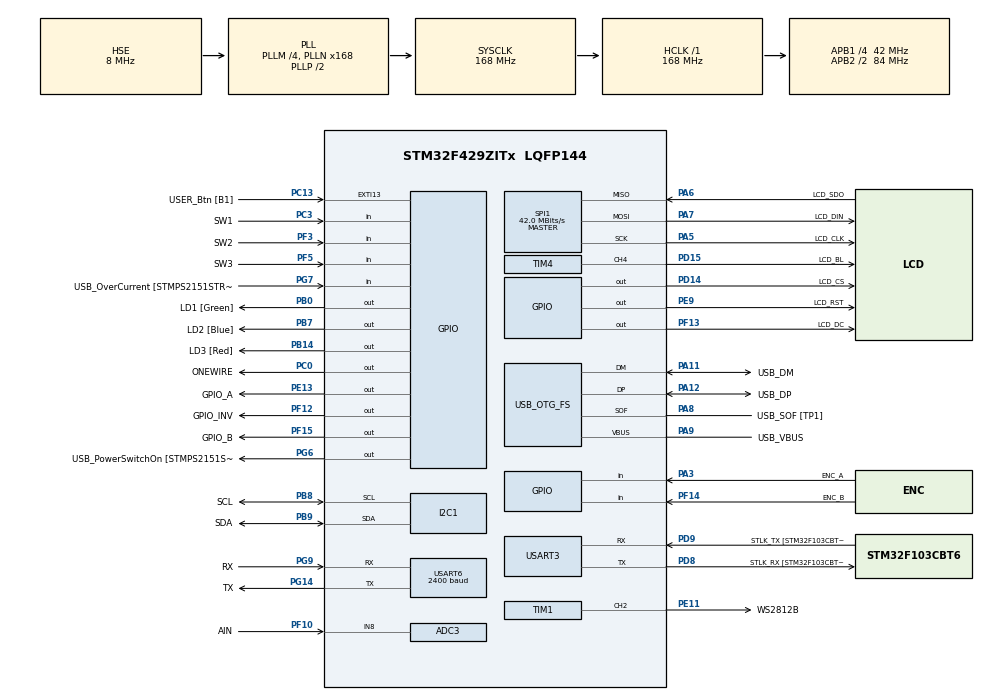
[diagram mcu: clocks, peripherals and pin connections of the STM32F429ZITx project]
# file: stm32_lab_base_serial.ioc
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ADC3.Channel-0\#ChannelRegularConversion=ADC_CHANNEL_8
ADC3.ClockPrescaler=ADC_CLOCK_SYNC_PCLK_DIV8
ADC3.ContinuousConvMode=ENABLE
ADC3.DMAContinuousRequests=ENABLE
ADC3.DiscontinuousConvMode=DISABLE
ADC3.EOCSelection=ADC_EOC_SINGLE_CONV
ADC3.InjNumberOfConversion=0
ADC3.NbrOfConversion=1
ADC3.NbrOfConversionFlag=1
ADC3.Rank-0\#ChannelRegularConversion=1
ADC3.SamplingTime-0\#ChannelRegularConversion=ADC_SAMPLETIME_3CYCLES
ADC3.ScanConvMode=ENABLE
Dma.ADC3.1.Direction=DMA_PERIPH_TO_MEMORY
Dma.ADC3.1.FIFOMode=DMA_FIFOMODE_DISABLE
Dma.ADC3.1.Instance=DMA2_Stream0
Dma.ADC3.1.MemDataAlignment=DMA_MDATAALIGN_HALFWORD
Dma.ADC3.1.MemInc=DMA_MINC_ENABLE
Dma.ADC3.1.Mode=DMA_NORMAL
Dma.ADC3.1.PeriphDataAlignment=DMA_PDATAALIGN_HALFWORD
Dma.ADC3.1.PeriphInc=DMA_PINC_DISABLE
Dma.ADC3.1.Priority=DMA_PRIORITY_LOW
Dma.Request0=SPI1_TX
Dma.Request1=ADC3
Dma.Request2=TIM1_CH2
Dma.SPI1_TX.0.Direction=DMA_MEMORY_TO_PERIPH
Dma.SPI1_TX.0.FIFOMode=DMA_FIFOMODE_DISABLE
Dma.SPI1_TX.0.Instance=DMA2_Stream3
Dma.SPI1_TX.0.MemDataAlignment=DMA_MDATAALIGN_BYTE
Dma.SPI1_TX.0.MemInc=DMA_MINC_ENABLE
Dma.SPI1_TX.0.Mode=DMA_NORMAL
Dma.SPI1_TX.0.PeriphDataAlignment=DMA_PDATAALIGN_BYTE
Dma.SPI1_TX.0.PeriphInc=DMA_PINC_DISABLE
Dma.SPI1_TX.0.Priority=DMA_PRIORITY_LOW
Dma.TIM1_CH2.2.Direction=DMA_MEMORY_TO_PERIPH
Dma.TIM1_CH2.2.FIFOMode=DMA_FIFOMODE_DISABLE
Dma.TIM1_CH2.2.Instance=DMA2_Stream2
Dma.TIM1_CH2.2.MemDataAlignment=DMA_MDATAALIGN_HALFWORD
Dma.TIM1_CH2.2.MemInc=DMA_MINC_ENABLE
Dma.TIM1_CH2.2.Mode=DMA_NORMAL
Dma.TIM1_CH2.2.PeriphDataAlignment=DMA_PDATAALIGN_HALFWORD
Dma.TIM1_CH2.2.PeriphInc=DMA_PINC_DISABLE
Dma.TIM1_CH2.2.Priority=DMA_PRIORITY_LOW
FREERTOS.INCLUDE_pcTaskGetTaskName=1
FREERTOS.INCLUDE_uxTaskGetStackHighWaterMark2=1
FREERTOS.INCLUDE_xTaskGetHandle=1
FREERTOS.Tasks01=defaultTask,24,1024,StartDefaultTask,Default,NULL,Dynamic,NULL,NULL
FREERTOS.configENABLE_FPU=1
FREERTOS.configTOTAL_HEAP_SIZE=32768
FREERTOS.configUSE_IDLE_HOOK=1
FREERTOS.configUSE_NEWLIB_REENTRANT=1
FREERTOS.configUSE_TICK_HOOK=1
Mcu.Family=STM32F4
Mcu.Name=STM32F429ZITx
Mcu.Package=LQFP144
NVIC.ADC_IRQn=true\:5\:0\:false\:false\:true\:true\:true\:true\:true
NVIC.DMA2_Stream0_IRQn=true\:5\:0\:false\:false\:true\:true\:false\:true\:true
NVIC.DMA2_Stream2_IRQn=true\:5\:0\:false\:false\:true\:true\:false\:true\:true
NVIC.DMA2_Stream3_IRQn=true\:5\:0\:false\:false\:true\:true\:false\:true\:true
NVIC.OTG_FS_IRQn=true\:5\:0\:false\:false\:true\:true\:false\:true\:true
NVIC.PriorityGroup=NVIC_PRIORITYGROUP_4
NVIC.TIM6_DAC_IRQn=true\:15\:0\:false\:false\:true\:false\:false\:true\:true
NVIC.TimeBase=TIM6_DAC_IRQn
NVIC.TimeBaseIP=TIM6
NVIC.USART6_IRQn=true\:5\:0\:false\:false\:true\:true\:true\:true\:true
PA1.GPIO_Label=RMII_REF_CLK [LAN8742A-CZ-TR_REFCLK0]
PA1.Signal=ETH_REF_CLK
PA10.GPIO_Label=USB_ID
PA10.Signal=USB_OTG_FS_ID
PA11.GPIO_Label=USB_DM
PA11.Mode=Device_Only
PA11.Signal=USB_OTG_FS_DM
PA12.GPIO_Label=USB_DP
PA12.Mode=Device_Only
PA12.Signal=USB_OTG_FS_DP
PA13.GPIO_Label=TMS
PA13.Mode=Serial_Wire
PA13.Signal=SYS_JTMS-SWDIO
PA14.GPIO_Label=TCK
PA14.Mode=Serial_Wire
PA14.Signal=SYS_JTCK-SWCLK
PA2.GPIO_Label=RMII_MDIO [LAN8742A-CZ-TR_MDIO]
PA2.Signal=ETH_MDIO
PA3.GPIO_Label=ENC_A
PA3.Signal=GPIO_Input
PA5.GPIO_Label=LCD_CLK
PA5.Mode=Full_Duplex_Master
PA5.Signal=SPI1_SCK
PA6.GPIO_Label=LCD_SDO
PA6.Mode=Full_Duplex_Master
PA6.Signal=SPI1_MISO
PA7.GPIO_Label=LCD_DIN
PA7.Mode=Full_Duplex_Master
PA7.Signal=SPI1_MOSI
PA8.GPIO_Label=USB_SOF [TP1]
PA8.Mode=Activate_SOF_FS
PA8.Signal=USB_OTG_FS_SOF
PA9.GPIO_Label=USB_VBUS
PA9.Mode=Activate_VBUS
PA9.Signal=USB_OTG_FS_VBUS
PB0.GPIO_Label=LD1 [Green]
PB0.Signal=GPIO_Output
PB13.GPIO_Label=RMII_TXD1 [LAN8742A-CZ-TR_TXD1]
PB13.Signal=ETH_TXD1
PB14.GPIO_Label=LD3 [Red]
PB14.Signal=GPIO_Output
PB7.GPIO_Label=LD2 [Blue]
PB7.Signal=GPIO_Output
PB8.GPIO_Label=SCL
PB8.Mode=I2C
PB8.Signal=I2C1_SCL
PB9.GPIO_Label=SDA
PB9.Mode=I2C
PB9.Signal=I2C1_SDA
PC0.GPIO_Label=ONEWIRE
PC0.Signal=GPIO_Output
PC1.GPIO_Label=RMII_MDC [LAN8742A-CZ-TR_MDC]
PC1.Signal=ETH_MDC
PC13.GPIO_Label=USER_Btn [B1]
PC13.Signal=GPXTI13
PC14/OSC32_IN.Mode=LSE-External-Oscillator
PC14/OSC32_IN.Signal=RCC_OSC32_IN
PC15/OSC32_OUT.Mode=LSE-External-Oscillator
PC15/OSC32_OUT.Signal=RCC_OSC32_OUT
PC3.GPIO_Label=SW1
PC3.Signal=GPIO_Input
PC4.GPIO_Label=RMII_RXD0 [LAN8742A-CZ-TR_RXD0]
PC4.Signal=ETH_RXD0
PC5.GPIO_Label=RMII_RXD1 [LAN8742A-CZ-TR_RXD1]
PC5.Signal=ETH_RXD1
PD14.GPIO_Label=LCD_CS
PD14.Signal=GPIO_Output
PD15.GPIO_Label=LCD_BL
PD15.Signal=S_TIM4_CH4
PD8.GPIO_Label=STLK_RX [STM32F103CBT6_PA3]
PD8.Mode=Asynchronous
PD8.Signal=USART3_TX
PD9.GPIO_Label=STLK_TX [STM32F103CBT6_PA2]
PD9.Mode=Asynchronous
PD9.Signal=USART3_RX
PE11.GPIO_Label=WS2812B
PE11.Signal=S_TIM1_CH2
PE13.GPIO_Label=GPIO_A
PE13.Signal=GPIO_Output
PE9.GPIO_Label=LCD_RST
PE9.Signal=GPIO_Output
PF10.GPIO_Label=AIN
PF10.Mode=IN8
PF10.Signal=ADC3_IN8
PF12.GPIO_Label=GPIO_INV
PF12.Signal=GPIO_Output
PF13.GPIO_Label=LCD_DC
PF13.Signal=GPIO_Output
PF14.GPIO_Label=ENC_B
PF14.Signal=GPIO_Input
PF15.GPIO_Label=GPIO_B
PF15.Signal=GPIO_Output
PF3.GPIO_Label=SW2
PF3.Signal=GPIO_Input
PF5.GPIO_Label=SW3
PF5.Signal=GPIO_Input
PG11.GPIO_Label=RMII_TX_EN [LAN8742A-CZ-TR_TXEN]
PG11.Signal=ETH_TX_EN
PG13.GPIO_Label=RMII_TXD0 [LAN8742A-CZ-TR_TXD0]
PG13.Signal=ETH_TXD0
PG14.GPIO_Label=TX
PG14.Mode=Asynchronous
PG14.Signal=USART6_TX
PG6.GPIO_Label=USB_PowerSwitchOn [STMPS2151STR_EN]
PG6.Signal=GPIO_Output
PG7.GPIO_Label=USB_OverCurrent [STMPS2151STR_FAULT]
PG7.Signal=GPIO_Input
PG9.GPIO_Label=RX
PG9.Mode=Asynchronous
PG9.Signal=USART6_RX
PH0/OSC_IN.GPIO_Label=MCO [STM32F103CBT6_PA8]
PH0/OSC_IN.Mode=HSE-External-Clock-Source
PH0/OSC_IN.Signal=RCC_OSC_IN
PH1/OSC_OUT.Mode=HSE-External-Clock-Source
PH1/OSC_OUT.Signal=RCC_OSC_OUT
ProjectManager.HeapSize=0x200
ProjectManager.StackSize=0x400
ProjectManager.TargetToolchain=STM32CubeIDE
RCC.48MHZClocksFreq_Value=48000000
RCC.AHBFreq_Value=168000000
RCC.APB1CLKDivider=RCC_HCLK_DIV4
RCC.APB1Freq_Value=42000000
RCC.APB1TimFreq_Value=84000000
RCC.APB2CLKDivider=RCC_HCLK_DIV2
RCC.APB2Freq_Value=84000000
RCC.APB2TimCLKDivider=2
RCC.APB2TimFreq_Value=168000000
RCC.CortexFreq_Value=168000000
RCC.HCLKFreq_Value=168000000
RCC.HSE_VALUE=8000000
RCC.HSI_VALUE=16000000
RCC.PLLM=4
RCC.PLLMUL=RCC_PLL_MUL9
RCC.PLLN=168
RCC.PLLQ=7
RCC.PRESCALERUSB=RCC_USBCLKSOURCE_PLL_DIV1_5
RCC.SYSCLKFreq_VALUE=168000000
RCC.SYSCLKSource=RCC_SYSCLKSOURCE_PLLCLK
RCC.SYSCLKSourceVirtual=RCC_SYSCLKSOURCE_PLLCLK
RCC.USBFreq_Value=48000000
RCC.VCOOutputFreq_Value=336000000
SH.S_TIM1_CH2.0=TIM1_CH2,PWM Generation2 CH2
SH.S_TIM4_CH4.0=TIM4_CH4,PWM Generation4 CH4
SPI1.CalculateBaudRate=42.0 MBits/s
SPI1.Direction=SPI_DIRECTION_2LINES
SPI1.Mode=SPI_MODE_MASTER
SPI1.VirtualType=VM_MASTER
TIM1.Channel-PWM\ Generation2\ CH2=TIM_CHANNEL_2
TIM1.ClockDivision=TIM_CLOCKDIVISION_DIV2
TIM1.Period=209
TIM1.Pulse-PWM\ Generation2\ CH2=50
TIM14.Period=42
TIM4.Channel-PWM\ Generation4\ CH4=TIM_CHANNEL_4
TIM4.Period=0xFF
TIM4.Prescaler=10
TIM4.Pulse-PWM\ Generation4\ CH4=0xF0
USART3.VirtualMode=VM_ASYNC
USART6.BaudRate=2400
USART6.VirtualMode=VM_ASYNC
USB_DEVICE.CLASS_NAME_FS=CDC
USB_DEVICE.MANUFACTURER_STRING-CDC_FS=Wydzial Informatyki AGH
USB_DEVICE.PRODUCT_STRING_CDC_FS=Mikroprocki Virtual ComPort
USB_DEVICE.USBD_DEBUG_LEVEL-CDC_FS=3
USB_DEVICE.VirtualMode-CDC_FS=Cdc
USB_DEVICE.VirtualModeFS=Cdc_FS
USB_OTG_FS.VirtualMode=Device_Only
VP_FREERTOS_VS_CMSIS_V2.Mode=CMSIS_V2
VP_SYS_VS_tim6.Mode=TIM6
VP_TIM14_VS_ClockSourceINT.Mode=Enable_Timer
VP_TIM1_VS_ClockSourceINT.Mode=Internal
VP_USB_DEVICE_VS_USB_DEVICE_CDC_FS.Mode=CDC_FS
board=NUCLEO-F429ZI

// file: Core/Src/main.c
/* USER CODE BEGIN Header */
/**
  ******************************************************************************
  * @file           : main.c
  * @brief          : Main program body
  ******************************************************************************
  * @attention
  *
  * Copyright (c) 2025 STMicroelectronics.
  * All rights reserved.
  *
  * This software is licensed under terms that can be found in the LICENSE file
  * in the root directory of this software component.
  * If no LICENSE file comes with this software, it is provided AS-IS.
  *
  ******************************************************************************
  */
/* USER CODE END Header */
#include "main.h"
#include "cmsis_os.h"
#include "usb_device.h"

/* USER CODE BEGIN Includes */
#include "dbgu.h"
#include "usbd_cdc_if.h"
#include "ws2812b.h"
#include "lcd/ili9341.h"
#include "lcd/lcd.h"
#include "us_delay.h"
/* USER CODE END Includes */

ADC_HandleTypeDef hadc3;
DMA_HandleTypeDef hdma_adc3;

I2C_HandleTypeDef hi2c1;

SPI_HandleTypeDef hspi1;
DMA_HandleTypeDef hdma_spi1_tx;

TIM_HandleTypeDef htim1;
TIM_HandleTypeDef htim4;
TIM_HandleTypeDef htim14;
DMA_HandleTypeDef hdma_tim1_ch2;

UART_HandleTypeDef huart3;
UART_HandleTypeDef huart6;

/* Definitions for defaultTask */
osThreadId_t defaultTaskHandle;
const osThreadAttr_t defaultTask_attributes = {
  .name = "defaultTask",
  .stack_size = 1024 * 4,
  .priority = (osPriority_t) osPriorityNormal,
};

void SystemClock_Config(void);
static void MX_GPIO_Init(void);
static void MX_DMA_Init(void);
static void MX_TIM1_Init(void);
static void MX_USART3_UART_Init(void);
static void MX_SPI1_Init(void);
static void MX_ADC3_Init(void);
static void MX_USART6_UART_Init(void);
static void MX_I2C1_Init(void);
static void MX_TIM4_Init(void);
static void MX_TIM14_Init(void);
void StartDefaultTask(void *argument);

/* USER CODE BEGIN PFP */
static void uart_tx_polling(char chr);
static char uart_rx_polling(void);
/* USER CODE END PFP */

/* USER CODE BEGIN 0 */
extern USBD_HandleTypeDef hUsbDeviceFS;
/* USER CODE END 0 */

int main(void)
{

  /* MCU Configuration--------------------------------------------------------*/

  /* Reset of all peripherals, Initializes the Flash interface and the Systick. */
  HAL_Init();

  /* Configure the system clock */
  SystemClock_Config();

  /* Initialize all configured peripherals */
  MX_GPIO_Init();
  MX_DMA_Init();
  MX_TIM1_Init();
  MX_USART3_UART_Init();
  MX_SPI1_Init();
  MX_ADC3_Init();
  MX_USART6_UART_Init();
  MX_I2C1_Init();
  MX_TIM4_Init();
  MX_TIM14_Init();
  /* USER CODE BEGIN 2 */
  debug_init(&huart3);
  printf("It works!\n");
  xprintf("xprintf works too!\n");
  //xprintf("initializing ws leds...\n");
  //ws2812b_init(&htim1,&hdma_tim1_ch2,TIM_CHANNEL_2,8);
  //ws2812b_init(&htim1,&hdma_tim1_ch2,TIM_CHANNEL_2,8);
  usdelay_Init(&htim14);
  /* USER CODE END 2 */

  /* Init scheduler */
  osKernelInitialize();

  /* Create the thread(s) */
  /* creation of defaultTask */
  defaultTaskHandle = osThreadNew(StartDefaultTask, NULL, &defaultTask_attributes);

  /* Start scheduler */
  osKernelStart();

  /* We should never get here as control is now taken by the scheduler */

  /* Infinite loop */
  while (1)
  {

  }
}

void SystemClock_Config(void)
{
  RCC_OscInitTypeDef RCC_OscInitStruct = {0};
  RCC_ClkInitTypeDef RCC_ClkInitStruct = {0};

  /** Configure the main internal regulator output voltage
  */
  __HAL_RCC_PWR_CLK_ENABLE();
  __HAL_PWR_VOLTAGESCALING_CONFIG(PWR_REGULATOR_VOLTAGE_SCALE1);

  /** Initializes the RCC Oscillators according to the specified parameters
  * in the RCC_OscInitTypeDef structure.
  */
  RCC_OscInitStruct.OscillatorType = RCC_OSCILLATORTYPE_HSE;
  RCC_OscInitStruct.HSEState = RCC_HSE_BYPASS;
  RCC_OscInitStruct.PLL.PLLState = RCC_PLL_ON;
  RCC_OscInitStruct.PLL.PLLSource = RCC_PLLSOURCE_HSE;
  RCC_OscInitStruct.PLL.PLLM = 4;
  RCC_OscInitStruct.PLL.PLLN = 168;
  RCC_OscInitStruct.PLL.PLLP = RCC_PLLP_DIV2;
  RCC_OscInitStruct.PLL.PLLQ = 7;
  if (HAL_RCC_OscConfig(&RCC_OscInitStruct) != HAL_OK)
  {
    Error_Handler();
  }

  /** Initializes the CPU, AHB and APB buses clocks
  */
  RCC_ClkInitStruct.ClockType = RCC_CLOCKTYPE_HCLK|RCC_CLOCKTYPE_SYSCLK
                              |RCC_CLOCKTYPE_PCLK1|RCC_CLOCKTYPE_PCLK2;
  RCC_ClkInitStruct.SYSCLKSource = RCC_SYSCLKSOURCE_PLLCLK;
  RCC_ClkInitStruct.AHBCLKDivider = RCC_SYSCLK_DIV1;
  RCC_ClkInitStruct.APB1CLKDivider = RCC_HCLK_DIV4;
  RCC_ClkInitStruct.APB2CLKDivider = RCC_HCLK_DIV2;

  if (HAL_RCC_ClockConfig(&RCC_ClkInitStruct, FLASH_LATENCY_5) != HAL_OK)
  {
    Error_Handler();
  }
}

static void MX_ADC3_Init(void)
{

  ADC_ChannelConfTypeDef sConfig = {0};

  /** Configure the global features of the ADC (Clock, Resolution, Data Alignment and number of conversion)
  */
  hadc3.Instance = ADC3;
  hadc3.Init.ClockPrescaler = ADC_CLOCK_SYNC_PCLK_DIV8;
  hadc3.Init.Resolution = ADC_RESOLUTION_12B;
  hadc3.Init.ScanConvMode = ENABLE;
  hadc3.Init.ContinuousConvMode = ENABLE;
  hadc3.Init.DiscontinuousConvMode = DISABLE;
  hadc3.Init.ExternalTrigConvEdge = ADC_EXTERNALTRIGCONVEDGE_NONE;
  hadc3.Init.ExternalTrigConv = ADC_SOFTWARE_START;
  hadc3.Init.DataAlign = ADC_DATAALIGN_RIGHT;
  hadc3.Init.NbrOfConversion = 1;
  hadc3.Init.DMAContinuousRequests = ENABLE;
  hadc3.Init.EOCSelection = ADC_EOC_SINGLE_CONV;
  if (HAL_ADC_Init(&hadc3) != HAL_OK)
  {
    Error_Handler();
  }

  /** Configure for the selected ADC regular channel its corresponding rank in the sequencer and its sample time.
  */
  sConfig.Channel = ADC_CHANNEL_8;
  sConfig.Rank = 1;
  sConfig.SamplingTime = ADC_SAMPLETIME_3CYCLES;
  if (HAL_ADC_ConfigChannel(&hadc3, &sConfig) != HAL_OK)
  {
    Error_Handler();
  }

}

static void MX_I2C1_Init(void)
{

  hi2c1.Instance = I2C1;
  hi2c1.Init.ClockSpeed = 100000;
  hi2c1.Init.DutyCycle = I2C_DUTYCYCLE_2;
  hi2c1.Init.OwnAddress1 = 0;
  hi2c1.Init.AddressingMode = I2C_ADDRESSINGMODE_7BIT;
  hi2c1.Init.DualAddressMode = I2C_DUALADDRESS_DISABLE;
  hi2c1.Init.OwnAddress2 = 0;
  hi2c1.Init.GeneralCallMode = I2C_GENERALCALL_DISABLE;
  hi2c1.Init.NoStretchMode = I2C_NOSTRETCH_DISABLE;
  if (HAL_I2C_Init(&hi2c1) != HAL_OK)
  {
    Error_Handler();
  }

  /** Configure Analogue filter
  */
  if (HAL_I2CEx_ConfigAnalogFilter(&hi2c1, I2C_ANALOGFILTER_ENABLE) != HAL_OK)
  {
    Error_Handler();
  }

  /** Configure Digital filter
  */
  if (HAL_I2CEx_ConfigDigitalFilter(&hi2c1, 0) != HAL_OK)
  {
    Error_Handler();
  }

}

static void MX_SPI1_Init(void)
{

  /* SPI1 parameter configuration*/
  hspi1.Instance = SPI1;
  hspi1.Init.Mode = SPI_MODE_MASTER;
  hspi1.Init.Direction = SPI_DIRECTION_2LINES;
  hspi1.Init.DataSize = SPI_DATASIZE_8BIT;
  hspi1.Init.CLKPolarity = SPI_POLARITY_LOW;
  hspi1.Init.CLKPhase = SPI_PHASE_1EDGE;
  hspi1.Init.NSS = SPI_NSS_SOFT;
  hspi1.Init.BaudRatePrescaler = SPI_BAUDRATEPRESCALER_2;
  hspi1.Init.FirstBit = SPI_FIRSTBIT_MSB;
  hspi1.Init.TIMode = SPI_TIMODE_DISABLE;
  hspi1.Init.CRCCalculation = SPI_CRCCALCULATION_DISABLE;
  hspi1.Init.CRCPolynomial = 10;
  if (HAL_SPI_Init(&hspi1) != HAL_OK)
  {
    Error_Handler();
  }

}

static void MX_TIM1_Init(void)
{

  TIM_ClockConfigTypeDef sClockSourceConfig = {0};
  TIM_MasterConfigTypeDef sMasterConfig = {0};
  TIM_OC_InitTypeDef sConfigOC = {0};
  TIM_BreakDeadTimeConfigTypeDef sBreakDeadTimeConfig = {0};

  htim1.Instance = TIM1;
  htim1.Init.Prescaler = 0;
  htim1.Init.CounterMode = TIM_COUNTERMODE_UP;
  htim1.Init.Period = 209;
  htim1.Init.ClockDivision = TIM_CLOCKDIVISION_DIV2;
  htim1.Init.RepetitionCounter = 0;
  htim1.Init.AutoReloadPreload = TIM_AUTORELOAD_PRELOAD_DISABLE;
  if (HAL_TIM_Base_Init(&htim1) != HAL_OK)
  {
    Error_Handler();
  }
  sClockSourceConfig.ClockSource = TIM_CLOCKSOURCE_INTERNAL;
  if (HAL_TIM_ConfigClockSource(&htim1, &sClockSourceConfig) != HAL_OK)
  {
    Error_Handler();
  }
  if (HAL_TIM_PWM_Init(&htim1) != HAL_OK)
  {
    Error_Handler();
  }
  sMasterConfig.MasterOutputTrigger = TIM_TRGO_RESET;
  sMasterConfig.MasterSlaveMode = TIM_MASTERSLAVEMODE_DISABLE;
  if (HAL_TIMEx_MasterConfigSynchronization(&htim1, &sMasterConfig) != HAL_OK)
  {
    Error_Handler();
  }
  sConfigOC.OCMode = TIM_OCMODE_PWM1;
  sConfigOC.Pulse = 50;
  sConfigOC.OCPolarity = TIM_OCPOLARITY_HIGH;
  sConfigOC.OCNPolarity = TIM_OCNPOLARITY_HIGH;
  sConfigOC.OCFastMode = TIM_OCFAST_DISABLE;
  sConfigOC.OCIdleState = TIM_OCIDLESTATE_RESET;
  sConfigOC.OCNIdleState = TIM_OCNIDLESTATE_RESET;
  if (HAL_TIM_PWM_ConfigChannel(&htim1, &sConfigOC, TIM_CHANNEL_2) != HAL_OK)
  {
    Error_Handler();
  }
  sBreakDeadTimeConfig.OffStateRunMode = TIM_OSSR_DISABLE;
  sBreakDeadTimeConfig.OffStateIDLEMode = TIM_OSSI_DISABLE;
  sBreakDeadTimeConfig.LockLevel = TIM_LOCKLEVEL_OFF;
  sBreakDeadTimeConfig.DeadTime = 0;
  sBreakDeadTimeConfig.BreakState = TIM_BREAK_DISABLE;
  sBreakDeadTimeConfig.BreakPolarity = TIM_BREAKPOLARITY_HIGH;
  sBreakDeadTimeConfig.AutomaticOutput = TIM_AUTOMATICOUTPUT_DISABLE;
  if (HAL_TIMEx_ConfigBreakDeadTime(&htim1, &sBreakDeadTimeConfig) != HAL_OK)
  {
    Error_Handler();
  }
  HAL_TIM_MspPostInit(&htim1);

}

static void MX_TIM4_Init(void)
{

  TIM_MasterConfigTypeDef sMasterConfig = {0};
  TIM_OC_InitTypeDef sConfigOC = {0};

  htim4.Instance = TIM4;
  htim4.Init.Prescaler = 10;
  htim4.Init.CounterMode = TIM_COUNTERMODE_UP;
  htim4.Init.Period = 0xFF;
  htim4.Init.ClockDivision = TIM_CLOCKDIVISION_DIV1;
  htim4.Init.AutoReloadPreload = TIM_AUTORELOAD_PRELOAD_DISABLE;
  if (HAL_TIM_PWM_Init(&htim4) != HAL_OK)
  {
    Error_Handler();
  }
  sMasterConfig.MasterOutputTrigger = TIM_TRGO_RESET;
  sMasterConfig.MasterSlaveMode = TIM_MASTERSLAVEMODE_DISABLE;
  if (HAL_TIMEx_MasterConfigSynchronization(&htim4, &sMasterConfig) != HAL_OK)
  {
    Error_Handler();
  }
  sConfigOC.OCMode = TIM_OCMODE_PWM1;
  sConfigOC.Pulse = 0xF0;
  sConfigOC.OCPolarity = TIM_OCPOLARITY_HIGH;
  sConfigOC.OCFastMode = TIM_OCFAST_DISABLE;
  if (HAL_TIM_PWM_ConfigChannel(&htim4, &sConfigOC, TIM_CHANNEL_4) != HAL_OK)
  {
    Error_Handler();
  }
  HAL_TIM_MspPostInit(&htim4);

}

static void MX_TIM14_Init(void)
{

  htim14.Instance = TIM14;
  htim14.Init.Prescaler = 0;
  htim14.Init.CounterMode = TIM_COUNTERMODE_UP;
  htim14.Init.Period = 42;
  htim14.Init.ClockDivision = TIM_CLOCKDIVISION_DIV1;
  htim14.Init.AutoReloadPreload = TIM_AUTORELOAD_PRELOAD_DISABLE;
  if (HAL_TIM_Base_Init(&htim14) != HAL_OK)
  {
    Error_Handler();
  }

}

static void MX_USART3_UART_Init(void)
{

  huart3.Instance = USART3;
  huart3.Init.BaudRate = 115200;
  huart3.Init.WordLength = UART_WORDLENGTH_8B;
  huart3.Init.StopBits = UART_STOPBITS_1;
  huart3.Init.Parity = UART_PARITY_NONE;
  huart3.Init.Mode = UART_MODE_TX_RX;
  huart3.Init.HwFlowCtl = UART_HWCONTROL_NONE;
  huart3.Init.OverSampling = UART_OVERSAMPLING_16;
  if (HAL_UART_Init(&huart3) != HAL_OK)
  {
    Error_Handler();
  }

}

static void MX_USART6_UART_Init(void)
{

  huart6.Instance = USART6;
  huart6.Init.BaudRate = 2400;
  huart6.Init.WordLength = UART_WORDLENGTH_8B;
  huart6.Init.StopBits = UART_STOPBITS_1;
  huart6.Init.Parity = UART_PARITY_NONE;
  huart6.Init.Mode = UART_MODE_TX_RX;
  huart6.Init.HwFlowCtl = UART_HWCONTROL_NONE;
  huart6.Init.OverSampling = UART_OVERSAMPLING_16;
  if (HAL_UART_Init(&huart6) != HAL_OK)
  {
    Error_Handler();
  }

}

static void MX_DMA_Init(void)
{

  /* DMA controller clock enable */
  __HAL_RCC_DMA2_CLK_ENABLE();

  /* DMA interrupt init */
  /* DMA2_Stream0_IRQn interrupt configuration */
  HAL_NVIC_SetPriority(DMA2_Stream0_IRQn, 5, 0);
  HAL_NVIC_EnableIRQ(DMA2_Stream0_IRQn);
  /* DMA2_Stream2_IRQn interrupt configuration */
  HAL_NVIC_SetPriority(DMA2_Stream2_IRQn, 5, 0);
  HAL_NVIC_EnableIRQ(DMA2_Stream2_IRQn);
  /* DMA2_Stream3_IRQn interrupt configuration */
  HAL_NVIC_SetPriority(DMA2_Stream3_IRQn, 5, 0);
  HAL_NVIC_EnableIRQ(DMA2_Stream3_IRQn);

}

static void MX_GPIO_Init(void)
{
  GPIO_InitTypeDef GPIO_InitStruct = {0};

  /* GPIO Ports Clock Enable */
  __HAL_RCC_GPIOC_CLK_ENABLE();
  __HAL_RCC_GPIOF_CLK_ENABLE();
  __HAL_RCC_GPIOH_CLK_ENABLE();
  __HAL_RCC_GPIOA_CLK_ENABLE();
  __HAL_RCC_GPIOB_CLK_ENABLE();
  __HAL_RCC_GPIOE_CLK_ENABLE();
  __HAL_RCC_GPIOD_CLK_ENABLE();
  __HAL_RCC_GPIOG_CLK_ENABLE();

  /*Configure GPIO pin Output Level */
  HAL_GPIO_WritePin(ONEWIRE_GPIO_Port, ONEWIRE_Pin, GPIO_PIN_RESET);

  /*Configure GPIO pin Output Level */
  HAL_GPIO_WritePin(GPIOB, LD1_Pin|LD3_Pin|LD2_Pin, GPIO_PIN_RESET);

  /*Configure GPIO pin Output Level */
  HAL_GPIO_WritePin(GPIOF, GPIO_INV_Pin|LCD_DC_Pin|GPIO_B_Pin, GPIO_PIN_RESET);

  /*Configure GPIO pin Output Level */
  HAL_GPIO_WritePin(GPIOE, LCD_RST_Pin|GPIO_A_Pin, GPIO_PIN_RESET);

  /*Configure GPIO pin Output Level */
  HAL_GPIO_WritePin(LCD_CS_GPIO_Port, LCD_CS_Pin, GPIO_PIN_RESET);

  /*Configure GPIO pin Output Level */
  HAL_GPIO_WritePin(USB_PowerSwitchOn_GPIO_Port, USB_PowerSwitchOn_Pin, GPIO_PIN_RESET);

  /*Configure GPIO pin : USER_Btn_Pin */
  GPIO_InitStruct.Pin = USER_Btn_Pin;
  GPIO_InitStruct.Mode = GPIO_MODE_IT_RISING;
  GPIO_InitStruct.Pull = GPIO_NOPULL;
  HAL_GPIO_Init(USER_Btn_GPIO_Port, &GPIO_InitStruct);

  /*Configure GPIO pins : SW2_Pin SW3_Pin ENC_B_Pin */
  GPIO_InitStruct.Pin = SW2_Pin|SW3_Pin|ENC_B_Pin;
  GPIO_InitStruct.Mode = GPIO_MODE_INPUT;
  GPIO_InitStruct.Pull = GPIO_NOPULL;
  HAL_GPIO_Init(GPIOF, &GPIO_InitStruct);

  /*Configure GPIO pin : ONEWIRE_Pin */
  GPIO_InitStruct.Pin = ONEWIRE_Pin;
  GPIO_InitStruct.Mode = GPIO_MODE_OUTPUT_PP;
  GPIO_InitStruct.Pull = GPIO_NOPULL;
  GPIO_InitStruct.Speed = GPIO_SPEED_FREQ_LOW;
  HAL_GPIO_Init(ONEWIRE_GPIO_Port, &GPIO_InitStruct);

  /*Configure GPIO pins : RMII_MDC_Pin RMII_RXD0_Pin RMII_RXD1_Pin */
  GPIO_InitStruct.Pin = RMII_MDC_Pin|RMII_RXD0_Pin|RMII_RXD1_Pin;
  GPIO_InitStruct.Mode = GPIO_MODE_AF_PP;
  GPIO_InitStruct.Pull = GPIO_NOPULL;
  GPIO_InitStruct.Speed = GPIO_SPEED_FREQ_VERY_HIGH;
  GPIO_InitStruct.Alternate = GPIO_AF11_ETH;
  HAL_GPIO_Init(GPIOC, &GPIO_InitStruct);

  /*Configure GPIO pin : SW1_Pin */
  GPIO_InitStruct.Pin = SW1_Pin;
  GPIO_InitStruct.Mode = GPIO_MODE_INPUT;
  GPIO_InitStruct.Pull = GPIO_NOPULL;
  HAL_GPIO_Init(SW1_GPIO_Port, &GPIO_InitStruct);

  /*Configure GPIO pins : RMII_REF_CLK_Pin RMII_MDIO_Pin */
  GPIO_InitStruct.Pin = RMII_REF_CLK_Pin|RMII_MDIO_Pin;
  GPIO_InitStruct.Mode = GPIO_MODE_AF_PP;
  GPIO_InitStruct.Pull = GPIO_NOPULL;
  GPIO_InitStruct.Speed = GPIO_SPEED_FREQ_VERY_HIGH;
  GPIO_InitStruct.Alternate = GPIO_AF11_ETH;
  HAL_GPIO_Init(GPIOA, &GPIO_InitStruct);

  /*Configure GPIO pin : ENC_A_Pin */
  GPIO_InitStruct.Pin = ENC_A_Pin;
  GPIO_InitStruct.Mode = GPIO_MODE_INPUT;
  GPIO_InitStruct.Pull = GPIO_NOPULL;
  HAL_GPIO_Init(ENC_A_GPIO_Port, &GPIO_InitStruct);

  /*Configure GPIO pins : LD1_Pin LD3_Pin LD2_Pin */
  GPIO_InitStruct.Pin = LD1_Pin|LD3_Pin|LD2_Pin;
  GPIO_InitStruct.Mode = GPIO_MODE_OUTPUT_PP;
  GPIO_InitStruct.Pull = GPIO_NOPULL;
  GPIO_InitStruct.Speed = GPIO_SPEED_FREQ_LOW;
  HAL_GPIO_Init(GPIOB, &GPIO_InitStruct);

  /*Configure GPIO pins : GPIO_INV_Pin LCD_DC_Pin GPIO_B_Pin */
  GPIO_InitStruct.Pin = GPIO_INV_Pin|LCD_DC_Pin|GPIO_B_Pin;
  GPIO_InitStruct.Mode = GPIO_MODE_OUTPUT_PP;
  GPIO_InitStruct.Pull = GPIO_NOPULL;
  GPIO_InitStruct.Speed = GPIO_SPEED_FREQ_LOW;
  HAL_GPIO_Init(GPIOF, &GPIO_InitStruct);

  /*Configure GPIO pins : LCD_RST_Pin GPIO_A_Pin */
  GPIO_InitStruct.Pin = LCD_RST_Pin|GPIO_A_Pin;
  GPIO_InitStruct.Mode = GPIO_MODE_OUTPUT_PP;
  GPIO_InitStruct.Pull = GPIO_NOPULL;
  GPIO_InitStruct.Speed = GPIO_SPEED_FREQ_LOW;
  HAL_GPIO_Init(GPIOE, &GPIO_InitStruct);

  /*Configure GPIO pin : RMII_TXD1_Pin */
  GPIO_InitStruct.Pin = RMII_TXD1_Pin;
  GPIO_InitStruct.Mode = GPIO_MODE_AF_PP;
  GPIO_InitStruct.Pull = GPIO_NOPULL;
  GPIO_InitStruct.Speed = GPIO_SPEED_FREQ_VERY_HIGH;
  GPIO_InitStruct.Alternate = GPIO_AF11_ETH;
  HAL_GPIO_Init(RMII_TXD1_GPIO_Port, &GPIO_InitStruct);

  /*Configure GPIO pin : LCD_CS_Pin */
  GPIO_InitStruct.Pin = LCD_CS_Pin;
  GPIO_InitStruct.Mode = GPIO_MODE_OUTPUT_PP;
  GPIO_InitStruct.Pull = GPIO_NOPULL;
  GPIO_InitStruct.Speed = GPIO_SPEED_FREQ_LOW;
  HAL_GPIO_Init(LCD_CS_GPIO_Port, &GPIO_InitStruct);

  /*Configure GPIO pin : USB_PowerSwitchOn_Pin */
  GPIO_InitStruct.Pin = USB_PowerSwitchOn_Pin;
  GPIO_InitStruct.Mode = GPIO_MODE_OUTPUT_PP;
  GPIO_InitStruct.Pull = GPIO_NOPULL;
  GPIO_InitStruct.Speed = GPIO_SPEED_FREQ_LOW;
  HAL_GPIO_Init(USB_PowerSwitchOn_GPIO_Port, &GPIO_InitStruct);

  /*Configure GPIO pin : USB_OverCurrent_Pin */
  GPIO_InitStruct.Pin = USB_OverCurrent_Pin;
  GPIO_InitStruct.Mode = GPIO_MODE_INPUT;
  GPIO_InitStruct.Pull = GPIO_NOPULL;
  HAL_GPIO_Init(USB_OverCurrent_GPIO_Port, &GPIO_InitStruct);

  /*Configure GPIO pins : RMII_TX_EN_Pin RMII_TXD0_Pin */
  GPIO_InitStruct.Pin = RMII_TX_EN_Pin|RMII_TXD0_Pin;
  GPIO_InitStruct.Mode = GPIO_MODE_AF_PP;
  GPIO_InitStruct.Pull = GPIO_NOPULL;
  GPIO_InitStruct.Speed = GPIO_SPEED_FREQ_VERY_HIGH;
  GPIO_InitStruct.Alternate = GPIO_AF11_ETH;
  HAL_GPIO_Init(GPIOG, &GPIO_InitStruct);

}

/* USER CODE BEGIN 4 */

void terminal_iface(void){
  uint8_t key = inkey();
  switch(key){
  case 0:
    break;
  case 'u':
    CDC_Transmit_FS((uint8_t*)"abc ", 4);
    break;
  case 'r':
    char rxed_chr = uart_rx_polling();
    if(rxed_chr){
      xprintf("UART6 rxed sth: %02X = %c\n",(unsigned int)rxed_chr,rxed_chr);
    }
    break;
  case '1':
  case '2':
  case '3':
  case '4':
    int count = key - '0';
    const char tx_chr = 0x35;
    xprintf("sending %d chars of value %02X (%c)... ",count,(int)tx_chr,tx_chr);
    for(int i=0;i<count;i++){
      uart_tx_polling(tx_chr);
    }
    xprintf("done\n");
    break;
  default:
    uart_tx_polling(key);
    break;
  }
}

void uart6_lab_irq_handler(void){
  uint32_t status = huart6.Instance->SR;
  xprintf("uart6_lab_irq_handler, status=%08X\n",(unsigned int)status);
}

/*
 * transmits a character (char type) in polling mode
 * arg1: pUart - a pointer to an initialized UART/USART object representing a serial port
 * arg2: chr - a character to be sent
 * returns: nothing
 */

static void uart_tx_polling(char chr){
	while (__HAL_UART_GET_FLAG(&huart6, UART_FLAG_TXE) == RESET) {
		GPIO_A_L;
	}

	GPIO_A_H;

	huart6.Instance-> DR = chr;

	while (__HAL_UART_GET_FLAG(&huart6, UART_FLAG_TXE) == RESET) {
			GPIO_A_L;
		}
	GPIO_A_H;
}

/*
 * tries to receive a character from an initialized UART interface
 * if something has been rxed, returns its ASCII code
 * if nothing new arrived, returns 0
 * obviously, if 0 arrives, it will be indistinguishable from "nothing arrived"
 */
static char uart_rx_polling(){
  if (huart6.Instance->SR & UART_FLAG_RXNE) {
	  return huart6.Instance->DR;
  }
  return 0;
}

/* USER CODE END 4 */

void StartDefaultTask(void *argument)
{
  /* init code for USB_DEVICE */
  MX_USB_DEVICE_Init();
  /* USER CODE BEGIN 5 */

  //lcd backlite init using PWM:
  HAL_TIM_PWM_Start(&htim4,TIM_CHANNEL_4);

  //now you can set the backlight brightness like that:
  __HAL_TIM_SET_COMPARE(&htim4,TIM_CHANNEL_4,0x80);

  /*
   * lcd init
   * you can use the lcd in your project as you like.
   * Remember that not all fonts have all the available characters.
   * Just figure it out
   */
  xprintf("initializing lcd...\n");
  ili9341_init(&hspi1,&hdma_spi1_tx,
		  LCD_CS_GPIO_Port,LCD_CS_Pin,
		  LCD_DC_GPIO_Port,LCD_DC_Pin,
		  LCD_RST_GPIO_Port,LCD_RST_Pin);
  xprintf("ILI9341 init done\n");
  lcdInit();
  xprintf("LCD lib init done\n");
  lcdSetFont(LCD_FONT_15);
  lcdSetColor(LCD_COLOR_GREEN);
  lcd("Napisy na LCD\n");
  lcdSetFont(LCD_FONT_40);
  lcdSetTextCursor(10, 50);
  lcdSetColor(LCD_COLOR_LIGHTRED);
  lcd("1234:\n5678.\n");
  lcdUpdate();
  GPIO_INV_H;
  GPIO_A_H;

  /* Infinite loop */
  for(;;)
  {
    vTaskDelay(10);
    terminal_iface();
  }
  /* USER CODE END 5 */
}

void HAL_TIM_PeriodElapsedCallback(TIM_HandleTypeDef *htim)
{
  if (htim->Instance == TIM6)
  {
    HAL_IncTick();
  }
}

void Error_Handler(void)
{
  __disable_irq();
  while (1)
  {
  }
}
